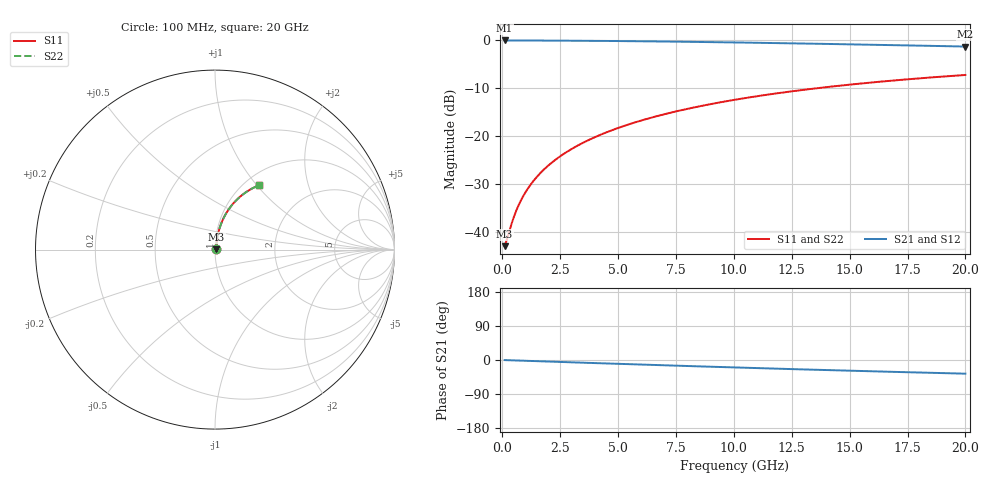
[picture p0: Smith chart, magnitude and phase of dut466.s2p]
! Touchstone file exported from HFSS 2024.1.0
!  File:  C:/UserFiles/LocalFiles/RDL_TSV_Batchsim/temp_RDL_bottom_466_1779685778.aedt
!  Generated:  01:12:11 PM May 25, 2026
!  Design:  RDL_bottom
!  Project:  temp_RDL_bottom_466_1779685778
!  Setup:  Setup1
!  Solution:  Sweep
! Variables:
!  dtsv = 10.80580581um
!  hbump = 3um
!  htsv = 52.81um
!  ldown = 442.28um
!  lrdl = 100um
!  p = 40
!  p1 = 42.35um
!  rhole = 1um
!  t = 450um
!  tdown = 2.21um
!  trdl = 3.915915916um
!  wdown = 10.74um
!  wrdl = 20um
# GHz S MA R 50.000000
! Terminal data exported
! Port[1] = RDL1_T1
! Port[2] = RDL1_T2
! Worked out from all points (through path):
!   200 points, 100 MHz to 20 GHz, reference 50 ohm
!   highest |S21| = -0.06 dB at 100 MHz (marker M1); lowest = -1.3 dB at 20 GHz (marker M2)
!   group delay of S21, straight-line fit = 5.02 ps
!   lowest |S11| = -42.9 dB at 100 MHz (marker M3), VSWR 1.01, Z = 50.7 + j0.257 ohm
!   |S11| at or under -10 dB: start of sweep to 13.6 GHz
!   |S22| runs from -42.9 to -7.2 dB; largest |S21 - S12| = 4.3e-15
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0.1  0.007161 20.7  0.9933 -0.2  0.9933 -0.2  0.007161 20.7
! Gamma 0 0 0 0
! Port Impedance 50 0 50 0
0.2  0.008438 36.9  0.9933 -0.4  0.9933 -0.4  0.008438 36.9
0.4  0.01225 55.4  0.9931 -0.8  0.9931 -0.8  0.01225 55.4
0.5  0.01443 60.6  0.993 -1.1  0.993 -1.1  0.01443 60.6
0.7  0.01901 67.0  0.9927 -1.5  0.9927 -1.5  0.01901 67.0
0.8  0.02135 69.1  0.9925 -1.7  0.9925 -1.7  0.02135 69.1
1  0.02606 72.1  0.9922 -2.1  0.9922 -2.1  0.02606 72.1
1.3  0.03316 74.8  0.9916 -2.7  0.9916 -2.7  0.03316 74.8
1.7  0.04267 76.9  0.9908 -3.5  0.9908 -3.5  0.04267 76.9
2.2  0.05459 78.2  0.9897 -4.5  0.9897 -4.5  0.05459 78.2
2.8  0.06896 78.8  0.988 -5.7  0.988 -5.7  0.06896 78.8
3.5  0.08576 78.9  0.9857 -7.1  0.9857 -7.1  0.08576 78.9
4.2  0.1026 78.6  0.983 -8.5  0.983 -8.5  0.1026 78.6
5  0.1218 77.9  0.9795 -10.1  0.9795 -10.1  0.1218 77.9
5.9  0.1433 77.0  0.9749 -11.9  0.9749 -11.9  0.1433 76.9
6.8  0.1647 75.8  0.9697 -13.6  0.9697 -13.6  0.1646 75.8
8.3  0.1998 73.7  0.96 -16.5  0.96 -16.5  0.1998 73.7
10.1  0.2409 71.0  0.9469 -19.8  0.9469 -19.8  0.2409 70.9
11.7  0.2762 68.4  0.934 -22.6  0.934 -22.6  0.2761 68.4
13.4  0.3121 65.7  0.9195 -25.6  0.9195 -25.6  0.312 65.7
16.7  0.3767 60.6  0.8896 -31.0  0.8896 -31.0  0.3766 60.5
20  0.4342 55.6  0.8585 -36.1  0.8585 -36.1  0.4341 55.6
